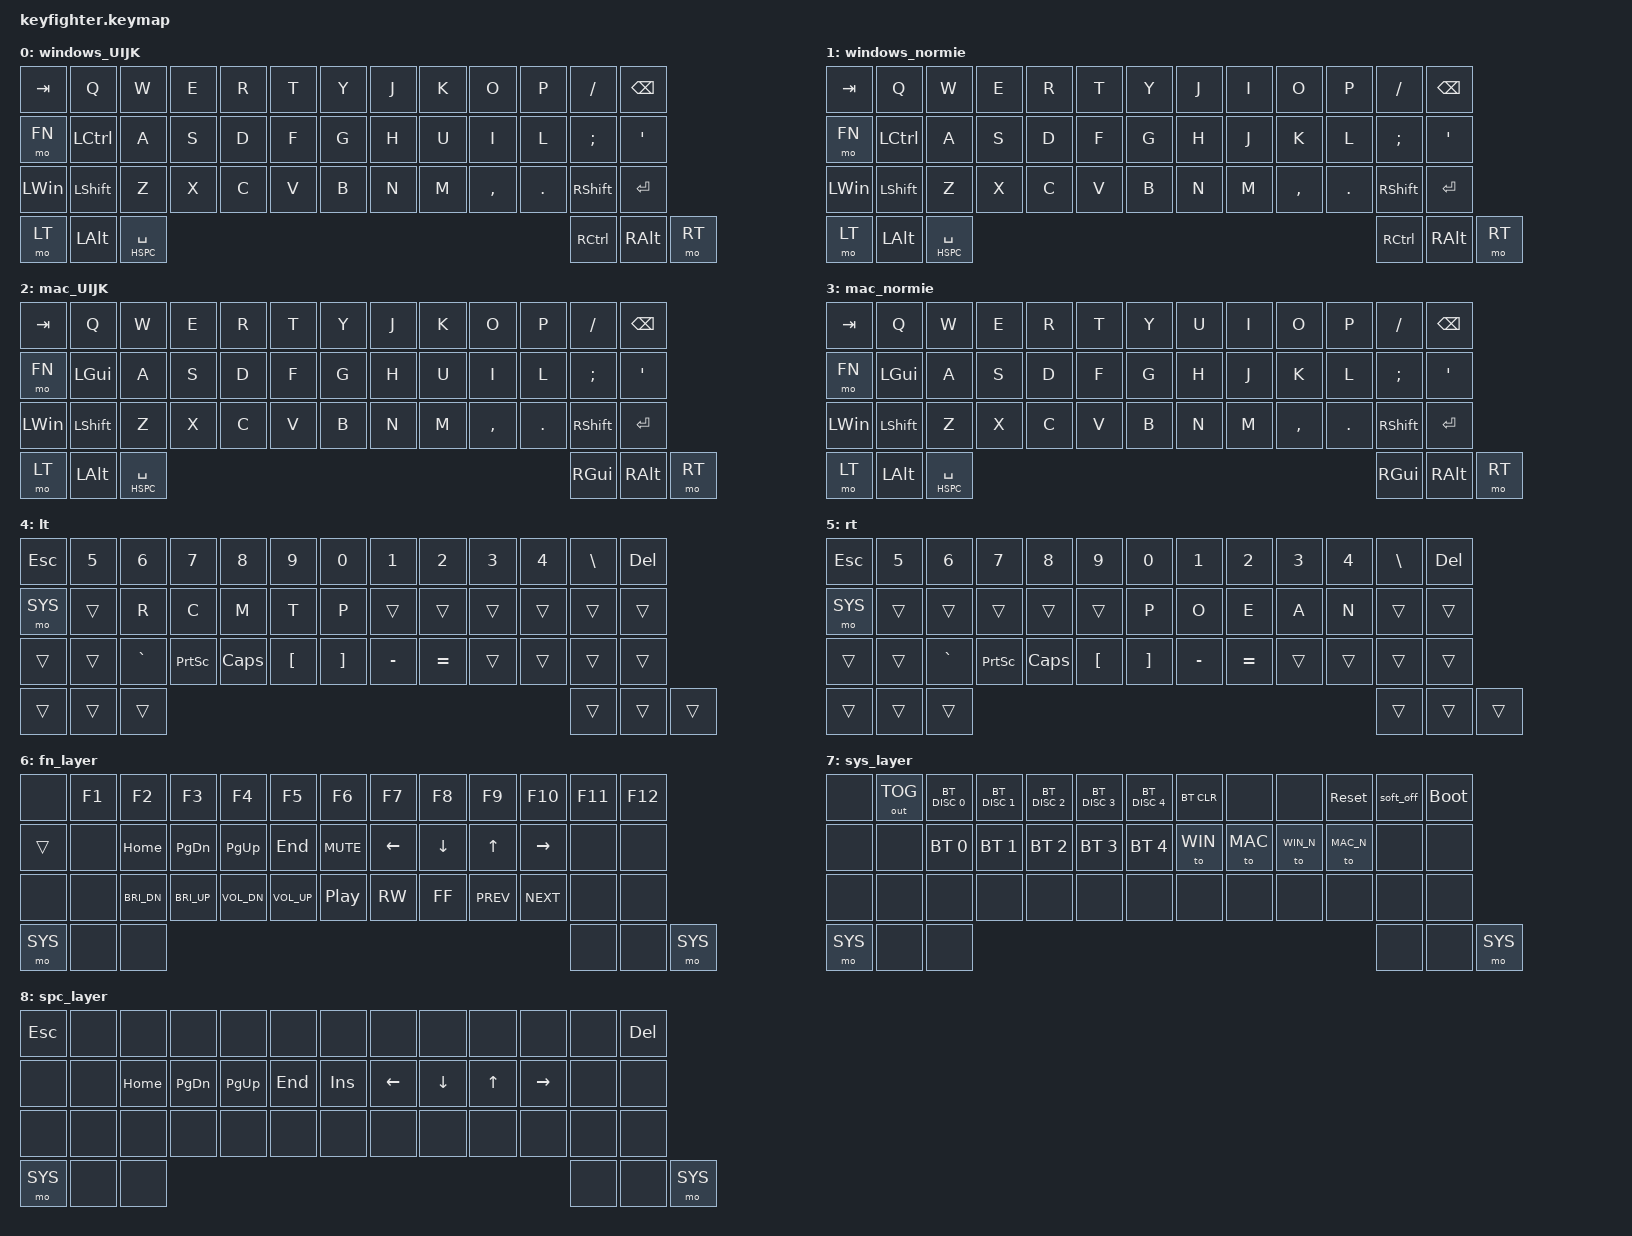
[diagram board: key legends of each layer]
#include <behaviors.dtsi>
#include <dt-bindings/zmk/keys.h>
#include <dt-bindings/zmk/bt.h>
#include <dt-bindings/zmk/outputs.h>

#define WIN     0
#define WIN_N   1
#define MAC     2
#define MAC_N   3
#define LT      4
#define RT      5
#define FN      6
#define SYS     7
#define HSPC    8
/ {
    keymap {
        compatible = "zmk,keymap";
        
        windows_UIJK {
            bindings = <
                &kp TAB     &kp Q       &kp W   &kp E   &kp R   &kp T   &kp Y   &kp J   &kp K   &kp O       &kp P       &kp FSLH        &kp BSPC
                &mo FN      &kp LCTRL   &kp A   &kp S   &kp D   &kp F   &kp G   &kp H   &kp U   &kp I       &kp L       &kp SEMICOLON   &kp APOS        
                &kp LWIN    &kp LSHIFT  &kp Z   &kp X   &kp C   &kp V   &kp B   &kp N   &kp M   &kp COMMA   &kp PERIOD  &kp RSHIFT      &kp ENTER
                &mo LT      &kp LALT                                    &lt HSPC SPACE                           &kp RCTRL   &kp RALT        &mo RT
            >;
        };

        windows_normie {
            bindings = <
                &kp TAB     &kp Q       &kp W   &kp E   &kp R   &kp T   &kp Y   &kp J   &kp I   &kp O       &kp P       &kp FSLH        &kp BSPC
                &mo FN      &kp LCTRL   &kp A   &kp S   &kp D   &kp F   &kp G   &kp H   &kp J   &kp K       &kp L       &kp SEMICOLON   &kp APOS        
                &kp LWIN    &kp LSHIFT  &kp Z   &kp X   &kp C   &kp V   &kp B   &kp N   &kp M   &kp COMMA   &kp PERIOD  &kp RSHIFT      &kp ENTER
                &mo LT      &kp LALT                                    &lt HSPC SPACE                           &kp RCTRL   &kp RALT        &mo RT
            >;
        };

        mac_UIJK {
            bindings = <
                &kp TAB     &kp Q       &kp W   &kp E   &kp R   &kp T   &kp Y   &kp J   &kp K   &kp O       &kp P       &kp FSLH        &kp BSPC
                &mo FN      &kp LGUI    &kp A   &kp S   &kp D   &kp F   &kp G   &kp H   &kp U   &kp I       &kp L       &kp SEMICOLON   &kp APOS        
                &kp LWIN    &kp LSHIFT  &kp Z   &kp X   &kp C   &kp V   &kp B   &kp N   &kp M   &kp COMMA   &kp PERIOD  &kp RSHIFT      &kp ENTER
                &mo LT      &kp LALT                                    &lt HSPC SPACE                           &kp RGUI    &kp RALT        &mo RT
            >;
        };

        mac_normie {
            bindings = <
                &kp TAB     &kp Q       &kp W   &kp E   &kp R   &kp T   &kp Y   &kp U   &kp I   &kp O       &kp P       &kp FSLH        &kp BSPC
                &mo FN      &kp LGUI    &kp A   &kp S   &kp D   &kp F   &kp G   &kp H   &kp J   &kp K       &kp L       &kp SEMICOLON   &kp APOS        
                &kp LWIN    &kp LSHIFT  &kp Z   &kp X   &kp C   &kp V   &kp B   &kp N   &kp M   &kp COMMA   &kp PERIOD  &kp RSHIFT      &kp ENTER
                &mo LT      &kp LALT                                    &lt HSPC SPACE                           &kp RGUI    &kp RALT        &mo RT
            >;
        };

        lt {
            bindings = <
                &kp ESC     &kp N5      &kp N6      &kp N7      &kp N8      &kp N9      &kp N0      &kp N1      &kp N2      &kp N3      &kp N4      &kp BSLH        &kp DEL
                &mo SYS     &trans      &kp R       &kp C       &kp M       &kp T       &kp P       &trans      &trans      &trans      &trans      &trans          &trans        
                &trans      &trans      &kp GRAVE   &kp PSCRN   &kp CAPS    &kp LBKT    &kp RBKT    &kp MINUS   &kp EQUAL   &trans      &trans      &trans          &trans
                &trans      &trans                                          &trans                                                      &trans      &trans          &trans
            >;
        };

        rt {
            bindings = <
                &kp ESC     &kp N5      &kp N6      &kp N7      &kp N8      &kp N9      &kp N0      &kp N1      &kp N2      &kp N3      &kp N4      &kp BSLH        &kp DEL
                &mo SYS     &trans      &trans      &trans      &trans      &trans      &kp P       &kp O       &kp E       &kp A       &kp N       &trans          &trans       
                &trans      &trans      &kp GRAVE   &kp PSCRN   &kp CAPS    &kp LBKT    &kp RBKT    &kp MINUS   &kp EQUAL   &trans      &trans      &trans          &trans
                &trans      &trans                                          &trans                                                      &trans      &trans          &trans
            >;
        };

       fn_layer {
            bindings = <
                &none       &kp F1      &kp F2          &kp F3          &kp F4          &kp F5          &kp F6      &kp F7      &kp F8      &kp F9          &kp F10     &kp F11         &kp F12
                &trans      &none       &kp HOME        &kp PG_DN       &kp PG_UP       &kp END         &kp C_MUTE  &kp LEFT    &kp DOWN    &kp UP          &kp RIGHT   &none           &none        
                &none       &none       &kp C_BRI_DN    &kp C_BRI_UP    &kp C_VOL_DN    &kp C_VOL_UP    &kp C_PP    &kp C_RW    &kp C_FF    &kp C_PREV      &kp C_NEXT  &none           &none
                &mo SYS     &none                                                       &none                                               &none           &none                       &mo SYS
            >;
        };

        sys_layer {
            bindings = <
                &none       &out OUT_TOG     &bt BT_DISC 0    &bt BT_DISC 1    &bt BT_DISC 2    &bt BT_DISC 3    &bt BT_DISC 4  &bt BT_CLR  &none       &none         &sys_reset  &soft_off   &bootloader     
                &none       &none            &bt BT_SEL 0     &bt BT_SEL 1     &bt BT_SEL 2     &bt BT_SEL 3     &bt BT_SEL 4   &to WIN     &to MAC     &to WIN_N     &to  MAC_N  &none       &none        
                &none       &none            &none            &none            &none            &none            &none          &none       &none       &none         &none       &none       &none
                &mo SYS     &none                                                               &none                                                   &none         &none                   &mo SYS
            >;
        };        

        spc_layer {
            bindings = <
                &kp ESC     &none            &none            &none            &none            &none            &none          &none       &none       &none         &none       &none       &kp DEL
                &none       &none            &kp HOME         &kp PG_DN        &kp PG_UP        &kp END          &kp INS        &kp LEFT    &kp DOWN    &kp UP        &kp RIGHT   &none       &none
                &none       &none            &none            &none            &none            &none            &none          &none       &none       &none         &none       &none       &none
                &mo SYS     &none                                                               &none                                                   &none         &none                   &mo SYS
            >;
        };
   };
};
